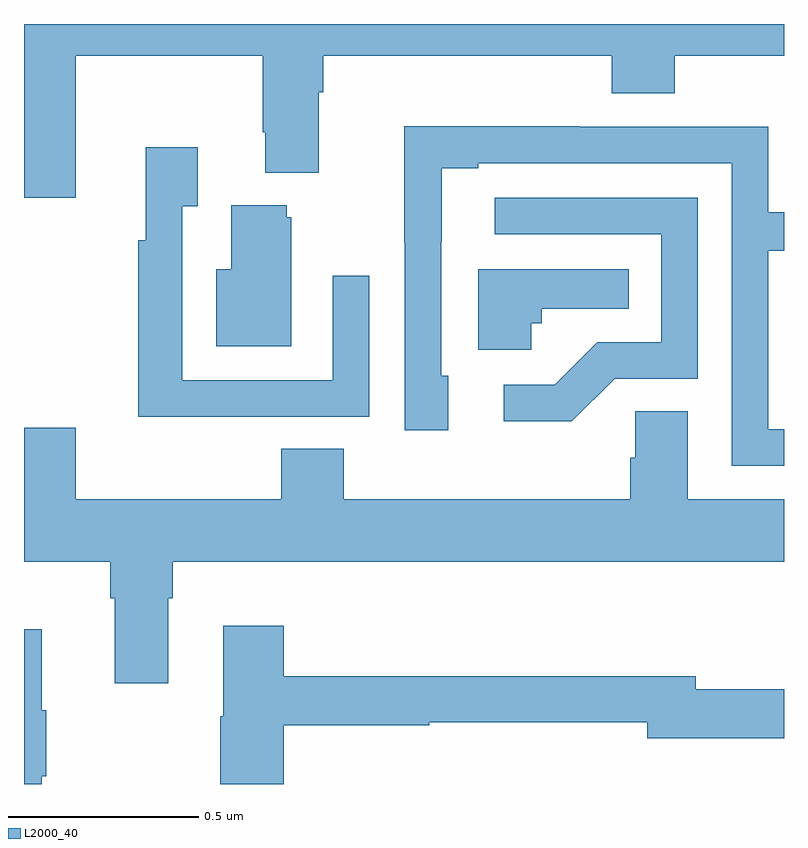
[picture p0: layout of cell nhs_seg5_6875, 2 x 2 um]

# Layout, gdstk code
import gdstk
lib = gdstk.Library(unit=1e-6, precision=1e-09)
def P(c, l, *ps):  # polygons
    for p in ps: c.add(gdstk.Polygon(p, *l))
L2000_40 = (2000, 40)

nhs_seg5_6875 = lib.new_cell('nhs_seg5_6875')
P(nhs_seg5_6875, L2000_40, [(201.136,900.716),(201.628,900.716),(201.628,900.514),(201.635,900.514),(201.635,900.407),(201.775,900.407),(201.775,900.62),(201.788,900.62),(201.788,900.716),(202.547,900.716),(202.547,900.617),(202.712,900.617),(202.712,900.716),(203,900.716),(203,900.799),(201,900.799),(201,900.342),(201.136,900.342)],
  [(203,899.733),(202.959,899.733),(202.959,900.202),(203,900.202),(203,900.303),(202.959,900.303),(202.959,900.528),(202.463,900.528),(202.463,900.53),(202,900.53),(202,900.223),(202.002,900.223),(202.002,899.73),(202.117,899.73),(202.117,899.874),(202.098,899.874),(202.098,900.226),(202.099,900.226),(202.099,900.42),(202.195,900.42),(202.195,900.432),(202.863,900.432),(202.863,899.637),(203,899.637)],
  [(201.593,899.766),(201.909,899.766),(201.909,900.136),(201.813,900.136),(201.813,899.862),(201.417,899.862),(201.417,900.319),(201.457,900.319),(201.457,900.475),(201.32,900.475),(201.32,900.23),(201.301,900.23),(201.301,899.765),(201.593,899.765)],
  [(202.554,899.865),(202.773,899.865),(202.773,900.342),(202.239,900.342),(202.239,900.246),(202.677,900.246),(202.677,899.961),(202.508,899.961),(202.397,899.85),(202.263,899.85),(202.263,899.753),(202.441,899.753)],
  [(201.703,900.291),(201.692,900.291),(201.692,900.322),(201.545,900.322),(201.545,900.154),(201.506,900.154),(201.506,899.951),(201.703,899.951)],
  [(202.335,900.012),(202.362,900.012),(202.362,900.05),(202.592,900.05),(202.592,900.154),(202.196,900.154),(202.196,899.942),(202.335,899.942)],
  [(201.379,899.288),(201.392,899.288),(201.392,899.384),(203,899.384),(203,899.548),(202.747,899.548),(202.747,899.78),(202.608,899.78),(202.608,899.657),(202.595,899.657),(202.595,899.548),(201.842,899.548),(201.842,899.681),(201.677,899.681),(201.677,899.548),(201.136,899.548),(201.136,899.737),(201,899.737),(201,899.384),(201.227,899.384),(201.227,899.288),(201.239,899.288),(201.239,899.064),(201.379,899.064)],
  [(201.683,898.954),(202.066,898.954),(202.066,898.962),(202.64,898.962),(202.64,898.919),(203,898.919),(203,899.049),(202.768,899.049),(202.768,899.083),(201.683,899.083),(201.683,899.215),(201.524,899.215),(201.524,898.977),(201.517,898.977),(201.517,898.799),(201.683,898.799)],
  [(201.047,898.819),(201.058,898.819),(201.058,898.993),(201.047,898.993),(201.047,899.206),(201,899.206),(201,898.799),(201.047,898.799)])

lib.write_gds('nhs_seg5_6875.gds')
